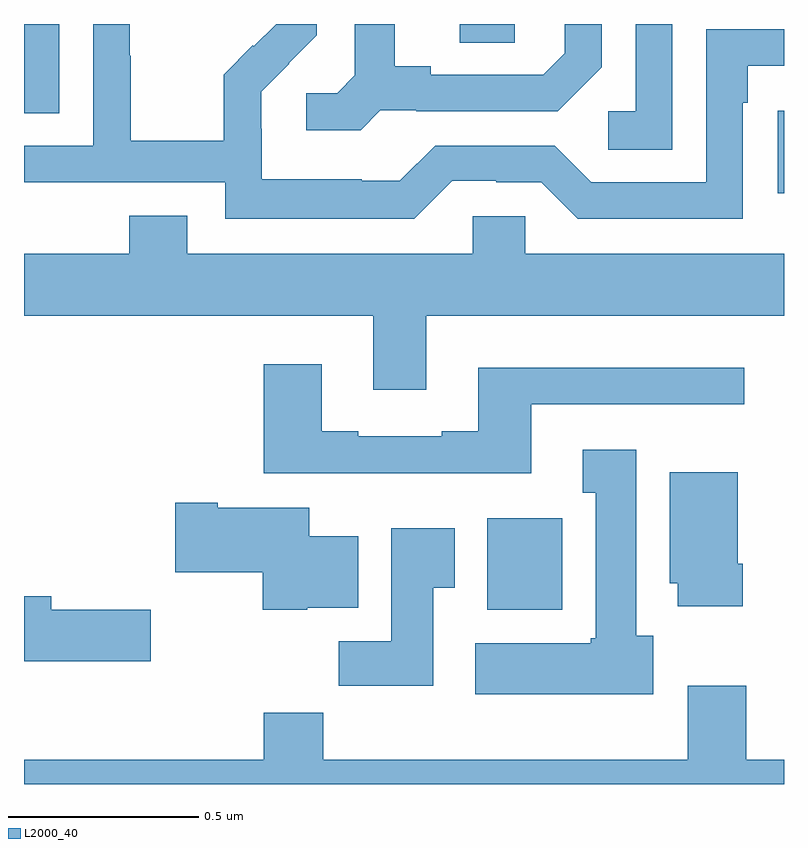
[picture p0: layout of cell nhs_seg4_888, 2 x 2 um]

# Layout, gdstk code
import gdstk
lib = gdstk.Library(unit=1e-6, precision=1e-09)
def R(c, l, rs):  # rectangles x0, y0, x1, y1
    for r in rs: c.add(gdstk.rectangle(r[:2], r[2:], *l))
def P(c, l, *ps):  # polygons
    for p in ps: c.add(gdstk.Polygon(p, *l))
L2000_40 = (2000, 40)

nhs_seg4_888 = lib.new_cell('nhs_seg4_888')
R(nhs_seg4_888, L2000_40, [(122.219,817.358,122.416,817.6), (122.983,818.454,123,818.672), (121,818.665,121.093,818.9), (122.147,818.851,122.292,818.9)])
P(nhs_seg4_888, L2000_40, [(122.127,818.487),(122.243,818.487),(122.243,818.484),(122.361,818.484),(122.457,818.388),(122.892,818.388),(122.892,818.693),(122.905,818.693),(122.905,818.79),(123,818.79),(123,818.886),(122.796,818.886),(122.796,818.484),(122.493,818.484),(122.397,818.58),(122.082,818.58),(121.989,818.487),(121.889,818.487),(121.889,818.491),(121.626,818.491),(121.626,818.625),(121.624,818.625),(121.624,818.722),(121.698,818.796),(121.697,818.797),(121.77,818.87),(121.77,818.9),(121.664,818.9),(121.605,818.841),(121.602,818.844),(121.525,818.767),(121.525,818.593),(121.281,818.593),(121.281,818.816),(121.278,818.816),(121.278,818.9),(121.182,818.9),(121.182,818.58),(121,818.58),(121,818.484),(121.53,818.484),(121.53,818.387),(122.027,818.387)],
  [(121.938,818.673),(122.032,818.673),(122.032,818.67),(122.404,818.67),(122.52,818.786),(122.52,818.9),(122.423,818.9),(122.423,818.823),(122.366,818.766),(122.071,818.766),(122.071,818.789),(121.975,818.789),(121.975,818.9),(121.871,818.9),(121.871,818.765),(121.824,818.718),(121.743,818.718),(121.743,818.621),(121.886,818.621)],
  [(122.706,818.9),(122.61,818.9),(122.61,818.67),(122.538,818.67),(122.538,818.569),(122.706,818.569)],
  [(122.059,818.132),(123,818.132),(123,818.296),(122.319,818.296),(122.319,818.394),(122.181,818.394),(122.181,818.296),(121.429,818.296),(121.429,818.395),(121.277,818.395),(121.277,818.296),(121,818.296),(121,818.132),(121.919,818.132),(121.919,817.938),(122.059,817.938)],
  [(122.335,817.899),(122.896,817.899),(122.896,817.996),(122.195,817.996),(122.195,817.828),(122.099,817.828),(122.099,817.815),(121.879,817.815),(121.879,817.828),(121.783,817.828),(121.783,818.005),(121.631,818.005),(121.631,817.718),(122.335,817.718)],
  [(122.656,817.29),(122.611,817.29),(122.611,817.78),(122.471,817.78),(122.471,817.667),(122.504,817.667),(122.504,817.284),(122.491,817.284),(122.491,817.27),(122.187,817.27),(122.187,817.136),(122.656,817.136)],
  [(122.891,817.48),(122.878,817.48),(122.878,817.72),(122.699,817.72),(122.699,817.428),(122.72,817.428),(122.72,817.368),(122.891,817.368)],
  [(121.746,817.364),(121.879,817.364),(121.879,817.552),(121.75,817.552),(121.75,817.627),(121.51,817.627),(121.51,817.64),(121.398,817.64),(121.398,817.457),(121.628,817.457),(121.628,817.358),(121.746,817.358)],
  [(122.077,817.417),(122.134,817.417),(122.134,817.573),(121.967,817.573),(121.967,817.276),(121.828,817.276),(121.828,817.158),(122.077,817.158)],
  [(121.333,817.358),(121.072,817.358),(121.072,817.394),(121,817.394),(121,817.223),(121.333,817.223)],
  [(123,816.964),(122.9,816.964),(122.9,817.159),(122.747,817.159),(122.747,816.964),(121.787,816.964),(121.787,817.088),(121.631,817.088),(121.631,816.964),(121,816.964),(121,816.9),(123,816.9)])

lib.write_gds('nhs_seg4_888.gds')
